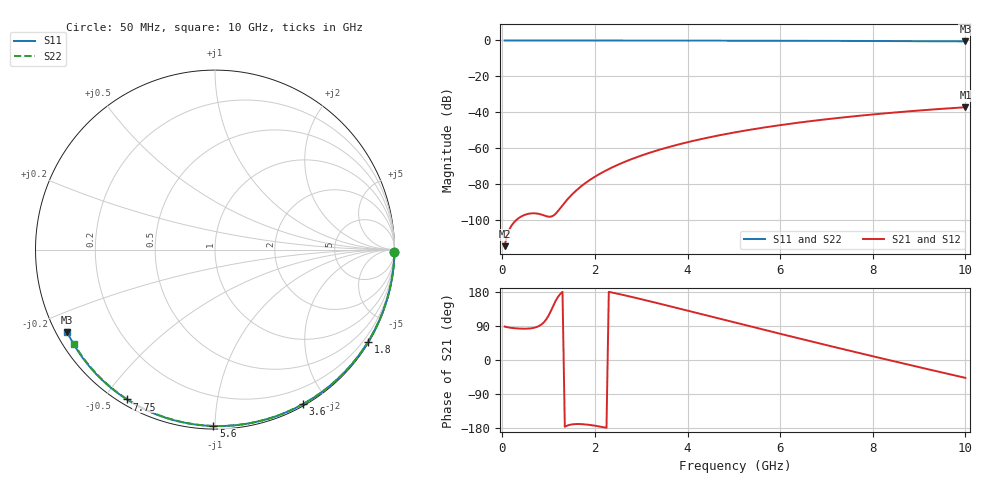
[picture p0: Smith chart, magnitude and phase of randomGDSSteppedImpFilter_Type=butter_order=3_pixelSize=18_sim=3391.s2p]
! freq	dB(S11)	phase(S11)	dB(S12)	phase(S12)
!  dB(S21)	phase(S21)	dB(S22)	phase(S22)
!S-par simulation data
#  GHz  S  DB  R 50
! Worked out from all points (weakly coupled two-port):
!   200 points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, 50 MHz to 10 GHz, reference 50 ohm
!   highest |S21| = -37.22 dB at 10 GHz (marker M1); lowest = -114.6 dB at 50 MHz (marker M2)
!   lowest |S11| = -0.5 dB at 10 GHz (marker M3), VSWR 34.12, Z = 1.56 - j13 ohm
!   |S11| at or under -10 dB: nowhere
!   |S22| runs from -0.5 to 0.0 dB; largest |S21 - S12| = 0
!   S11 on the Smith chart (normalised r, x): 50 MHz: open; 1.8 GHz: 0.03, -3.61; 3.6 GHz: 0.02, -1.72; 5.6 GHz: 0.02, -0.99; 7.75 GHz: 0.02, -0.57; 10 GHz: 0.03, -0.26
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0.05  -0.00 -0.9  -114.64 88.3  -114.64 88.3  -0.00 -0.9
0.45  -0.01 -7.9  -97.57 82.6  -97.57 82.6  -0.01 -7.6
0.9  -0.02 -15.6  -97.49 99.7  -97.49 99.7  -0.02 -15.2
1.3  -0.03 -22.5  -91.87 179.8  -91.87 179.8  -0.03 -21.8
1.75  -0.04 -30.1  -80.32 -169.5  -80.32 -169.5  -0.04 -29.2
1.8  -0.04 -31.0  -79.36 -170.1  -79.36 -170.1  -0.04 -30.1
1.95  -0.04 -33.5  -76.73 -172.4  -76.73 -172.4  -0.04 -32.5
2.1  -0.05 -36.0  -74.41 -175.4  -74.41 -175.4  -0.04 -35.0
2.3  -0.05 -39.3  -71.66 179.8  -71.66 179.8  -0.05 -38.2
2.5  -0.05 -42.6  -69.23 174.6  -69.23 174.6  -0.05 -41.4
2.9  -0.06 -49.1  -65.08 163.4  -65.08 163.4  -0.06 -47.7
3.4  -0.08 -57.2  -60.84 148.6  -60.84 148.6  -0.07 -55.5
3.6  -0.08 -60.3  -59.37 142.5  -59.37 142.5  -0.08 -58.6
4.3  -0.10 -71.2  -54.92 121.1  -54.92 121.1  -0.10 -69.2
5.05  -0.13 -82.5  -51.09 98.1  -51.09 98.1  -0.12 -80.2
5.6  -0.15 -90.5  -48.72 81.4  -48.72 81.4  -0.15 -88.0
6.15  -0.18 -98.4  -46.65 64.7  -46.65 64.7  -0.17 -95.6
6.7  -0.21 -106.1  -44.82 48.2  -44.82 48.2  -0.20 -103.1
7.75  -0.28 -120.5  -41.86 17.2  -41.86 17.2  -0.27 -117.0
8.35  -0.33 -128.6  -40.42 -0.2  -40.42 -0.2  -0.32 -124.8
9.2  -0.41 -140.0  -38.64 -24.6  -38.64 -24.6  -0.40 -135.7
10  -0.51 -150.8  -37.22 -47.2  -37.22 -47.2  -0.49 -146.0
